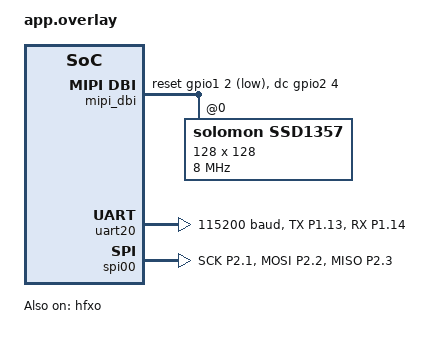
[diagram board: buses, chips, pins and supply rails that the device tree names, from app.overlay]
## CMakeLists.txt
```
cmake_minimum_required(VERSION 3.20.0)
find_package(Zephyr REQUIRED HINTS $ENV{ZEPHYR_BASE})
project(peripheral_nus)

target_sources(app PRIVATE 
    src/main.c

    src/resources/img_88112_261123_youwe.c
    src/resources/img_88112_261123_youwe2.c
    src/resources/img_88112_261123_tel.c
    src/resources/img_88112_261123_carolie.c
    src/resources/img_88112_261123_hr.c
)
target_include_directories(app PRIVATE ${CMAKE_CURRENT_SOURCE_DIR})
```

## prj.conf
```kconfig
CONFIG_CLOCK_CONTROL_NRF_K32SRC_RC=y
CONFIG_CLOCK_CONTROL_NRF_K32SRC_XTAL=n
CONFIG_CLOCK_CONTROL_NRF_K32SRC_RC_CALIBRATION=y
CONFIG_CLOCK_CONTROL_NRF_K32SRC_500PPM=y
CONFIG_MPSL_HFCLK_LATENCY=8000

CONFIG_BT=y
CONFIG_BT_PERIPHERAL=y
CONFIG_BT_ZEPHYR_NUS=y
CONFIG_BT_DEVICE_NAME="F798"

CONFIG_MAIN_STACK_SIZE=8192
CONFIG_HEAP_MEM_POOL_SIZE=4096
CONFIG_SYSTEM_WORKQUEUE_STACK_SIZE=8192

CONFIG_DISPLAY=y
CONFIG_LVGL=y
CONFIG_LV_Z_AUTO_INIT=n
CONFIG_LV_Z_MEM_POOL_SYS_HEAP=y
CONFIG_LV_Z_MEM_POOL_SIZE=16384
CONFIG_LV_Z_VDB_SIZE=10
CONFIG_LV_COLOR_DEPTH_16=y
CONFIG_LV_COLOR_16_SWAP=y
CONFIG_LV_Z_VDB_ALIGN=4
CONFIG_LV_DRAW_BUF_ALIGN=4
CONFIG_LV_FONT_MONTSERRAT_8=y
CONFIG_LV_FONT_MONTSERRAT_14=y
CONFIG_LV_FONT_MONTSERRAT_16=y
CONFIG_LV_FONT_MONTSERRAT_20=y
CONFIG_LV_FONT_DEFAULT_MONTSERRAT_16=y

CONFIG_PRINTK=y
CONFIG_SERIAL=y
CONFIG_CONSOLE=y
CONFIG_UART_CONSOLE=y
CONFIG_UART_INTERRUPT_DRIVEN=y
CONFIG_UART_ASYNC_API=y
```

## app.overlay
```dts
#include <zephyr/dt-bindings/gpio/gpio.h>
#include <zephyr/dt-bindings/pinctrl/nrf-pinctrl.h>

/ {
    chosen {
        zephyr,display = &ssd1357;
        zephyr,console = &uart20;
    };

    /* ---------- SSD1357 MIPI-DBI ---------- */
    mipi_dbi: mipi_dbi {
        compatible = "zephyr,mipi-dbi-spi";
        spi-dev = <&spi00>;
        dc-gpios = <&gpio2 4 GPIO_ACTIVE_HIGH>;
        reset-gpios = <&gpio1 2 GPIO_ACTIVE_LOW>;
        xfr-min-bits = "MIPI_DBI_SPI_XFR_8BIT";
        #address-cells = <1>;
        #size-cells = <0>;
        status = "okay";

        ssd1357: ssd1357@0 {
            compatible = "solomon,ssd1357";
            reg = <0>;
            mipi-max-frequency = <8000000>;
            mipi-mode = "MIPI_DBI_MODE_SPI_4WIRE";
            width = <128>;
            height = <128>;
            display-offset = <0>;
            start-line = <0>;
            multiplex-ratio = <127>;
            phase-length = <0x77>;
            oscillator-freq = <0xF1>;
            precharge-time = <0x08>;
            precharge-voltage = <0x17>;
            vcomh-voltage = <0x05>;
            current-att = <0x0F>;
            remap-value = <0x74>;
            status = "okay";
        };
    };
};

/* ---------- 禁用 LFXO（外部板无 32.768k 晶振） ---------- */
&lfxo {
    status = "disabled";
};

/* ---------- HFXO 32M 配置 ---------- */
&hfxo {
    status = "okay";
    clock-frequency = <32000000>;
    load-capacitors = "internal";
    load-capacitance-femtofarad = <16000>;
};

/* ---------- UART20 (VCOM1) TX→P1.13 ---------- */
&pinctrl {


    uart20_default: uart20_default {
        group1 {
            psels = <NRF_PSEL(UART_TX, 1, 13)>,
                    <NRF_PSEL(UART_RX, 1, 14)>;
        };
    };

    uart20_sleep: uart20_sleep {
        group1 {
            psels = <NRF_PSEL(UART_TX, 1, 13)>,
                    <NRF_PSEL(UART_RX, 1, 14)>;
            low-power-enable;
        };
    };

    /* ---------- SPI00 (原有，不变) ---------- */
    spi00_default: spi00_default {
        group1 {
            psels = <NRF_PSEL(SPIM_SCK, 2, 1)>,
                    <NRF_PSEL(SPIM_MOSI, 2, 2)>,
                    <NRF_PSEL(SPIM_MISO, 2, 3)>;
        };
    };

    spi00_sleep: spi00_sleep {
        group1 {
            psels = <NRF_PSEL(SPIM_SCK, 2, 1)>,
                    <NRF_PSEL(SPIM_MOSI, 2, 2)>,
                    <NRF_PSEL(SPIM_MISO, 2, 3)>;
            low-power-enable;
        };
    };
};

&uart20 {
    status = "okay";
    current-speed = <115200>;
    pinctrl-0 = <&uart20_default>;
    pinctrl-1 = <&uart20_sleep>;
    pinctrl-names = "default", "sleep";
    /delete-property/hw-flow-control;
};

&spi00 {
    status = "okay";
    compatible = "nordic,nrf-spim";
    pinctrl-0 = <&spi00_default>;
    pinctrl-1 = <&spi00_sleep>;
    pinctrl-names = "default", "sleep";
    cs-gpios = <&gpio2 5 GPIO_ACTIVE_LOW>;
};

&uicr {
    nfct-pins-as-gpios;
};

&nfct {
    status = "disabled";
};
```

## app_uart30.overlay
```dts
#include <zephyr/dt-bindings/gpio/gpio.h>
#include <zephyr/dt-bindings/pinctrl/nrf-pinctrl.h>

/ {
    chosen {
        zephyr,display = &ssd1357;
        zephyr,console = &uart20;
    };

    /* ---------- SSD1357 MIPI-DBI ---------- */
    mipi_dbi: mipi_dbi {
        compatible = "zephyr,mipi-dbi-spi";
        spi-dev = <&spi00>;
        dc-gpios = <&gpio2 4 GPIO_ACTIVE_HIGH>;
        reset-gpios = <&gpio1 2 GPIO_ACTIVE_LOW>;
        xfr-min-bits = "MIPI_DBI_SPI_XFR_8BIT";
        #address-cells = <1>;
        #size-cells = <0>;
        status = "okay";

        ssd1357: ssd1357@0 {
            compatible = "solomon,ssd1357";
            reg = <0>;
            mipi-max-frequency = <8000000>;
            mipi-mode = "MIPI_DBI_MODE_SPI_4WIRE";
            width = <128>;
            height = <128>;
            display-offset = <0>;
            start-line = <0>;
            multiplex-ratio = <127>;
            phase-length = <0x77>;
            oscillator-freq = <0xF1>;
            precharge-time = <0x08>;
            precharge-voltage = <0x17>;
            vcomh-voltage = <0x05>;
            current-att = <0x0F>;
            remap-value = <0x74>;
            status = "okay";
        };
    };
};

/* ---------- 禁用 LFXO（外部板无 32.768k 晶振） ---------- */
&lfxo {
    status = "disabled";
};

/* ---------- HFXO 32M 配置 ---------- */
&hfxo {
    status = "okay";
    clock-frequency = <32000000>;
    load-capacitors = "internal";
    load-capacitance-femtofarad = <16000>;
};

/* ---------- UART20 (VCOM1) TX→P1.13 ---------- */
&pinctrl {


    uart30_default: uart30_default {
        group1 {
            psels = <NRF_PSEL(UART_TX, 1, 12)>,
                    <NRF_PSEL(UART_RX, 1, 13)>;
        };
    };

    uart30_sleep: uart30_sleep {
        group1 {
            psels = <NRF_PSEL(UART_TX, 1, 12)>,
                    <NRF_PSEL(UART_RX, 1, 13)>;
            low-power-enable;
        };
    };

    /* ---------- SPI00 (原有，不变) ---------- */
    spi00_default: spi00_default {
        group1 {
            psels = <NRF_PSEL(SPIM_SCK, 2, 1)>,
                    <NRF_PSEL(SPIM_MOSI, 2, 2)>,
                    <NRF_PSEL(SPIM_MISO, 2, 3)>;
        };
    };

    spi00_sleep: spi00_sleep {
        group1 {
            psels = <NRF_PSEL(SPIM_SCK, 2, 1)>,
                    <NRF_PSEL(SPIM_MOSI, 2, 2)>,
                    <NRF_PSEL(SPIM_MISO, 2, 3)>;
            low-power-enable;
        };
    };
};

&uart20 {
    status = "okay";
    current-speed = <115200>;
    pinctrl-0 = <&uart20_default>;
    pinctrl-1 = <&uart20_sleep>;
    pinctrl-names = "default", "sleep";
    /delete-property/hw-flow-control;
};

&uart30 {
    status = "okay";
    current-speed = <115200>;
    pinctrl-0 = <&uart30_default>;
    pinctrl-1 = <&uart30_sleep>;
    pinctrl-names = "default", "sleep";
};

&spi00 {
    status = "okay";
    compatible = "nordic,nrf-spim";
    pinctrl-0 = <&spi00_default>;
    pinctrl-1 = <&spi00_sleep>;
    pinctrl-names = "default", "sleep";
    cs-gpios = <&gpio2 5 GPIO_ACTIVE_LOW>;
};

&uicr {
    nfct-pins-as-gpios;
};

&nfct {
    status = "disabled";
};
```

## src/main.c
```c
#include <zephyr/kernel.h>
#include <zephyr/device.h>
#include <zephyr/drivers/gpio.h>
#include <zephyr/drivers/spi.h>
#include <lvgl.h>


#include <zephyr/bluetooth/services/nus.h>
#include <zephyr/kernel.h>
#include <zephyr/bluetooth/bluetooth.h>
#include <zephyr/bluetooth/gap.h>
#include <zephyr/bluetooth/uuid.h>
#include <zephyr/bluetooth/conn.h>


#include <zephyr/logging/log.h>
LOG_MODULE_REGISTER(ssd135x, CONFIG_DISPLAY_LOG_LEVEL);

#include "src/resources/img_96128_header.h"

#define DEVICE_NAME		CONFIG_BT_DEVICE_NAME
#define DEVICE_NAME_LEN		(sizeof(DEVICE_NAME) - 1)

static struct bt_conn *current_conn;
static struct k_work adv_work;

static const struct bt_data ad[] = {
	BT_DATA_BYTES(BT_DATA_FLAGS, (BT_LE_AD_GENERAL | BT_LE_AD_NO_BREDR)),
	BT_DATA(BT_DATA_NAME_COMPLETE, DEVICE_NAME, DEVICE_NAME_LEN),
};

static void disp_bt_data(char* data, uint16_t len);

static const struct bt_data sd[] = {
	BT_DATA_BYTES(BT_DATA_UUID128_ALL, BT_UUID_NUS_SRV_VAL),
};

static void adv_work_handler(struct k_work *w)
{
    bt_le_adv_start(BT_LE_ADV_CONN_FAST_1, ad, ARRAY_SIZE(ad), sd, ARRAY_SIZE(sd));
}

static void connected(struct bt_conn *conn, uint8_t err)
{
    if (!err) {
        current_conn = bt_conn_ref(conn);
    }
}

static void disconnected(struct bt_conn *conn, uint8_t reason)
{
    if (conn == current_conn) {
        bt_conn_unref(current_conn);
        current_conn = NULL;
    }
    k_work_submit(&adv_work);
}

BT_CONN_CB_DEFINE(cb) = {
    .connected = connected,
    .disconnected = disconnected,
};

static void notif_enabled(bool enabled, void *ctx)
{
	ARG_UNUSED(ctx);

	printk("%s() - %s\n", __func__, (enabled ? "Enabled" : "Disabled"));
    
}

static void received(struct bt_conn *conn, const void *data, uint16_t len, void *ctx)
{
	ARG_UNUSED(conn);
	ARG_UNUSED(ctx);

	printk("%s() - Len: %d, Message: %.*s\n", __func__, len, len, (char *)data);
    disp_bt_data((char *)data, len);
}

struct bt_nus_cb nus_listener = {
	.notif_enabled = notif_enabled,
	.received = received,
};

#if 0
/*  UART 自定义配置 Start*/
#include <zephyr/drivers/uart.h>

/* ---------- UART30 业务串口 ---------- */
static const struct device *uart30_dev;

/* 回发固定报文 */
static const uint8_t rsp[] = {0x98, 0x98};

/* 接收缓冲：一次最多收 64 字节，够用可改大 */
static uint8_t uart30_rx_buf[64];
static volatile bool uart30_tx_busy;

/* 发送完成回调：发送完就把忙标志清掉 */


/* 接收回调：每收到一帧，回发 0x98 0x98 */
static void uart30_async_cb(const struct device *dev, struct uart_event *evt,
                           void *user_data)
{
    ARG_UNUSED(dev);
    ARG_UNUSED(user_data);

    switch (evt->type) {
    case UART_TX_DONE:
        uart30_tx_busy = false;
        break;

    case UART_TX_ABORTED:
        uart30_tx_busy = false;   /* 超时也算发送结束，要释放忙标志 */
        printk("UART TX aborted, sent %d bytes\n", evt->data.tx.len);
        break;

    case UART_RX_RDY:
        if (evt->data.rx.len > 0) {
            printk("UART RX %d bytes: %.*s\n",
                   evt->data.rx.len, evt->data.rx.len,
                   (char *)evt->data.rx.buf);

            /* 没有正在进行的发送，才回发 0x98 0x98 */
            if (!uart30_tx_busy) {
                uart30_tx_busy = true;
                int rc = uart_tx(dev, rsp, sizeof(rsp), SYS_FOREVER_MS);
                if (rc) {            /* -EBUSY 等说明发送没排进去，要释放标志 */
                    printk("uart_tx failed: %d\n", rc);
                    uart30_tx_busy = false;
                }
            }
            /* 把这段缓冲交还给驱动，准备接收下一批数据 */
            uart_rx_enable(dev, uart30_rx_buf, sizeof(uart30_rx_buf), 0);
        }
        break;

    case UART_RX_DISABLED:
        /* 接收被关闭（缓冲满了、超时了等），重新打开 */
        uart_rx_enable(dev, uart30_rx_buf, sizeof(uart30_rx_buf), 0);
        break;

    case UART_RX_BUF_REQUEST:
        /* 想要连续接收，可以再提供一个缓冲；这里用单缓冲，忽略即可 */
        break;

    case UART_RX_BUF_RELEASED:
        break;

    case UART_RX_STOPPED:
        printk("UART RX stopped, reason %d\n", evt->data.rx_stop.reason);
        uart_rx_enable(dev, uart30_rx_buf, sizeof(uart30_rx_buf), 0);
        break;

    default:
        break;
    }
}

/*  UART 自定义配置 End */
#endif

/* 全局 */
//#define IMG_W 96
//#define IMG_H 128
//#define IMG_BYTES (IMG_W * IMG_H * 2)  /* 24576 */

/* 全局 */
#define IMG_W 88
#define IMG_H 112
#define IMG_BYTES (IMG_W * IMG_H * 2)  

static const struct device *spi_dev;
static const struct device *gpio1_dev;
static const struct device *gpio2_dev;

#define MLED_CS    5
#define MLED_MOSI    2
#define MLED_DC    4
#define MLED_CLK    1
#define MLED_RST    2

/* ---------- 底层 SPI ---------- */
static void write_cmd(uint8_t cmd)
{
    gpio_pin_set(gpio2_dev, MLED_DC, 0);
    gpio_pin_set(gpio2_dev, MLED_CS, 0);

    struct spi_buf buf = { .buf = &cmd, .len = 1 };
    struct spi_buf_set tx = { .buffers = &buf, .count = 1 };
    struct spi_config cfg = {                          // ← 去掉 static
        .frequency = 64000000,
        .operation = SPI_OP_MODE_MASTER | SPI_WORD_SET(8) | SPI_LINES_SINGLE,
        .slave = 0,
    };
    int ret = spi_write(spi_dev, &cfg, &tx);
    if (ret != 0) {
        printk("write_cmd 0x%02x failed: %d\n", cmd, ret);
    }

    gpio_pin_set(gpio2_dev, MLED_CS, 1);
}

static void write_data(uint8_t data)
{
    gpio_pin_set(gpio2_dev, MLED_DC, 1);
    gpio_pin_set(gpio2_dev, MLED_CS, 0);

    struct spi_buf buf = { .buf = &data, .len = 1 };
    struct spi_buf_set tx = { .buffers = &buf, .count = 1 };
    struct spi_config cfg = {                          // ← 去掉 static
        .frequency = 64000000,
        .operation = SPI_OP_MODE_MASTER | SPI_WORD_SET(8) | SPI_LINES_SINGLE,
        .slave = 0,
    };
    int ret = spi_write(spi_dev, &cfg, &tx);
    if (ret != 0) {
        printk("write_data 0x%02x failed: %d\n", data, ret);
    }

    gpio_pin_set(gpio2_dev, MLED_CS, 1);
}

static void write_data16(uint8_t d0, uint8_t d1)
{
    gpio_pin_set(gpio2_dev, MLED_DC, 1);
    gpio_pin_set(gpio2_dev, MLED_CS, 0);

    uint8_t d[2] = {d0, d1};
    struct spi_buf buf = { .buf = d, .len = 2 };
    struct spi_buf_set tx = { .buffers = &buf, .count = 1 };
    struct spi_config cfg = {
        .frequency = 64000000,
        .operation = SPI_OP_MODE_MASTER | SPI_WORD_SET(8) | SPI_LINES_SINGLE,
        .slave = 0,
    };
    spi_write(spi_dev, &cfg, &tx);
    gpio_pin_set(gpio2_dev, MLED_CS, 1);
}

static void set_column(uint8_t start, uint8_t end)
{
    write_cmd(0x15);
    write_data16(start, end);
}

static void set_row(uint8_t start, uint8_t end)
{
    write_cmd(0x75);
    write_data16(start, end);
}

/* ---------- 屏幕初始化 ---------- */

static void ssd1357_init(void)
{
    /* 硬件复位 */
    gpio_pin_configure(gpio1_dev, MLED_RST, GPIO_OUTPUT_HIGH);
    gpio_pin_set(gpio1_dev, MLED_RST, 0);
    k_msleep(10);
    gpio_pin_set(gpio1_dev, MLED_RST, 1);
    k_msleep(120);
#if 0 //2026-06-05
    //write_cmd(0xFD); write_data(0x12); // Unlock
    write_cmd(0xAE);                   // Display Off

    write_cmd(0x15); write_data(0x10);write_data(0x6F);
    write_cmd(0x75); write_data(0x00);write_data(0x7F);
    /* Remap: 镜像修正 + 扫描方向 */
    write_cmd(0xA0); write_data(0x74);write_data(0x00);

    write_cmd(0xA1); write_data(0x00); // Start line
    write_cmd(0xA2); write_data(0x00); // Offset

    write_cmd(0xA6); 

    write_cmd(0xB1); write_data(0xF4); //Phase 1 and 2 setting. It may need to fine tune based on panel performanc
    write_cmd(0xB3); write_data(0x20); // Clock

    write_cmd(0xB9); //Default linear LUT

    write_cmd(0xBB); write_data(0x1E); //VP voltage level setting. It may need to fine tune based on panel performance.
    write_cmd(0xBE); write_data(0x07);//VCOMH voltage level setting

    write_cmd(0xC1); 
    write_data(0x7F);
    write_data(0x7F);
    write_data(0x7F);

    write_cmd(0xC7); write_data(0x0F);
    write_cmd(0xCA); write_data(0x7F); // MUX = 128

    /* 列窗口偏移 0x20，让 64 列数据正好映射到物理屏幕的中间 */
    //set_column(0x20, 0x5F);
    //set_row(0x00, 0x7F);

    write_cmd(0xAF); // Display On
    #endif
#if 1 //2026-10-16
    write_cmd(0xAE);                   // Display Off

    write_cmd(0x15); write_data(0x14);write_data(0x6B);
    write_cmd(0x75); write_data(0x00);write_data(0x6F);

    /* Remap: 镜像修正 + 扫描方向 */
    //write_cmd(0xA0); write_data(0x60);write_data(0x00);
    write_cmd(0xA0); write_data(0b01110100);write_data(0b00000000);

    write_cmd(0xA1); write_data(0); // Start line
    //write_cmd(0xA2); write_data(0x00); // Offset
    write_cmd(0xA2); write_data(112); // Offset

    write_cmd(0xA6); 

    write_cmd(0xB1); write_data(0x84); //Phase 1 and 2 setting. It may need to fine tune based on panel performanc
    write_cmd(0xB3); write_data(0x00); // Clock

    write_cmd(0xB9); //Default linear LUT

    write_cmd(0xBB); write_data(0x1E); //VP voltage level setting. It may need to fine tune based on panel performance.
    write_cmd(0xBE); write_data(0x05);//VCOMH voltage level setting

    write_cmd(0xC1); 
    write_data(0x7F);
    write_data(0x7F);
    write_data(0x7F);

    write_cmd(0xC7); write_data(0x0F);
    write_cmd(0xCA); write_data(0x6F); // MUX = 128

    //write_cmd(0xA5); // 全亮
    //write_cmd(0xA4); // 全黑
    write_cmd(0xAF); // Display On
#endif
}

/* ---------- 填充颜色 ---------- */

#define COLOR_RED    0xF800
#define COLOR_GREEN  0x07E0
#define COLOR_BLUE   0x001F
#define COLOR_WHITE  0xFFFF

static void fill_color(uint16_t color)
{
    set_column(0x14, 0x6B);
    set_row(0x00, 0x6F);
    write_cmd(0x5C);

    gpio_pin_set(gpio2_dev, MLED_DC, 1);
    gpio_pin_set(gpio2_dev, MLED_CS, 0);

    uint8_t data[2] = {
        (color >> 8) & 0xFF,
        color & 0xFF
    };

    struct spi_buf buf = { .buf = data, .len = 2 };
    struct spi_buf_set tx = { .buffers = &buf, .count = 1 };

    static struct spi_config cfg = {
        .frequency = 64000000,
        .operation = SPI_OP_MODE_MASTER | SPI_WORD_SET(8) | SPI_LINES_SINGLE,
        .slave = 0,
    };

    for (int i = 0; i < IMG_W * IMG_H; i++) {
        spi_write(spi_dev, &cfg, &tx);
    }

    gpio_pin_set(gpio2_dev, MLED_CS, 1);
}

static uint8_t color_index = 0;

static void color_timer_expiry(struct k_timer *timer)
{
    const uint16_t colors[4] = {
        COLOR_RED,
        COLOR_GREEN,
        COLOR_BLUE,
        COLOR_WHITE
    };

    fill_color(colors[color_index]);
    color_index = (color_index + 1) % 4;
}

static K_TIMER_DEFINE(color_timer, color_timer_expiry, NULL);

/* ---------- 填充颜色 ---------- */


/* ---------- 清屏 ---------- */
static void clear_screen(void)
{
    /* 窗口 = IMG_W × IMG_H = 88 × 128，居中 */
    set_column(0x14, 0x6B);     // 0x14 ~ 0x6B (88列)
    set_row(0x00, 0x6F);        // 0x00 ~ 0x6F (112行)
    write_cmd(0x5C);

    write_cmd(0x25);  // Clear Window
    write_data(0x14); // start column
    write_data(0x00); // start row  
    write_data(0x6B); // end column
    write_data(0x6F); // end row

    gpio_pin_set(gpio2_dev, MLED_DC, 1);
    gpio_pin_set(gpio2_dev, MLED_CS, 0);

    uint8_t black[2] = {0x00, 0x00};
    struct spi_buf buf = { .buf = black, .len = 2 };
    struct spi_buf_set tx = { .buffers = &buf, .count = 1 };
    struct spi_config cfg = {
        .frequency = 64000000,
        .operation = SPI_OP_MODE_MASTER | SPI_WORD_SET(8) | SPI_LINES_SINGLE,
        .slave = 0,
    };

    for (int i = 0; i < IMG_W * IMG_H; i++) {
        spi_write(spi_dev, &cfg, &tx);
    }

    gpio_pin_set(gpio2_dev, MLED_CS, 1);
}

/* ---------- LVGL flush ---------- */
static void lvgl_flush_cb(lv_display_t *disp, const lv_area_t *area, uint8_t *px_map)
{
    set_column(area->x1 + 0x14, area->x2 + 0x14);
    set_row(area->y1 , area->y2 );
    write_cmd(0x5C);

    printk("flush: (%d,%d)-(%d,%d)\n", area->x1, area->y1, area->x2, area->y2);

    gpio_pin_set(gpio2_dev, MLED_DC, 1);
    gpio_pin_set(gpio2_dev, MLED_CS, 0);

    int w = area->x2 - area->x1 + 1;
    int h = area->y2 - area->y1 + 1;
    struct spi_buf buf = { .buf = px_map, .len = w * h * 2 };
    struct spi_buf_set tx = { .buffers = &buf, .count = 1 };
    static struct spi_config cfg = {
        .frequency = 64000000,
        .operation = SPI_OP_MODE_MASTER | SPI_WORD_SET(8) | SPI_LINES_SINGLE,
        .slave = 0,
    };
    spi_write(spi_dev, &cfg, &tx);

    gpio_pin_set(gpio2_dev, MLED_CS, 1);

    lv_display_flush_ready(disp);
    
    printk("Screen cleared, starting LVGL...\n");
}


#include <zephyr/kernel.h>

static lv_obj_t *img, *label;
static uint8_t img_index = 0;
static lv_display_t *disp;
static bool img_pending = false;

static const lv_image_dsc_t *imgs[5] = {
    &img_88112_261123_youwe,
    &img_88112_261123_youwe2,
    &img_88112_261123_tel,
    &img_88112_261123_carolie,
    &img_88112_261123_hr
};

static void img_switch_work(struct k_work *work)
{
    img_index = ((img_index + 1) % ARRAY_SIZE(imgs));
    lv_image_set_src(img, imgs[img_index]);    
    //img_pending = true;
    lv_refr_now(disp); 
    printk("img_index:%d\n", img_index);
}

static void disp_bt_data(char* data, uint16_t len)
{
    label = lv_label_create(lv_screen_active());
    lv_label_set_text(label,(char *)data);
    lv_obj_set_style_text_color(label, lv_color_hex(0x00FF00), 0); 
    lv_obj_set_style_text_font(label, &lv_font_montserrat_8, 0);
    lv_obj_align(label, LV_ALIGN_TOP_MID, 0, 0);
}

static K_WORK_DEFINE(img_switch_work_item, img_switch_work);

static void img_timer_expiry(struct k_timer *timer)
{
    k_work_submit(&img_switch_work_item);
}

static K_TIMER_DEFINE(img_timer, img_timer_expiry, NULL);

static void bt_ready(int err)
{
    if (err) {
        printk("BT init failed: %d\n", err);
        return;
    }
    printk("BT ready\n");
    int r = bt_le_adv_start(BT_LE_ADV_CONN_FAST_1, ad, ARRAY_SIZE(ad), sd, ARRAY_SIZE(sd));
    printk("adv_start ret=%d\n", r);
}

int main(void)
{
	int err;

	printk("Sample - Bluetooth Peripheral NUS\n");

	err = bt_nus_cb_register(&nus_listener, NULL);
	if (err) {
		printk("Failed to register NUS callback: %d\n", err);
		return err;
	}

	err = bt_enable(bt_ready);
	if (err) {
		printk("Failed to enable bluetooth: %d\n", err);
		return err;
	}
/*
	err = bt_le_adv_start(BT_LE_ADV_CONN_FAST_1, ad, ARRAY_SIZE(ad), sd, ARRAY_SIZE(sd));
	if (err) {
		printk("Failed to start advertising: %d\n", err);
		return err;
	}
*/
    k_work_init(&adv_work, adv_work_handler);

    spi_dev = DEVICE_DT_GET(DT_NODELABEL(spi00));
    gpio2_dev = DEVICE_DT_GET(DT_NODELABEL(gpio2));
    gpio1_dev = DEVICE_DT_GET(DT_NODELABEL(gpio1));

    if (!device_is_ready(spi_dev) || !device_is_ready(gpio2_dev) || !device_is_ready(gpio1_dev)) {
        printk("FATAL: device not ready!\n");
        return 0;
    }

    gpio_pin_configure(gpio2_dev, MLED_CS, GPIO_OUTPUT_HIGH);
    gpio_pin_configure(gpio2_dev, MLED_DC, GPIO_OUTPUT_HIGH);
    gpio_pin_configure(gpio1_dev, MLED_RST, GPIO_OUTPUT_HIGH);

    gpio_pin_configure(gpio1_dev, 7, GPIO_INPUT | GPIO_PULL_UP);
    gpio_pin_set(gpio1_dev, 7, 1);

    gpio_pin_configure(gpio1_dev, 9, GPIO_OUTPUT_HIGH);
    gpio_pin_set(gpio1_dev, 9, 1);

    gpio_pin_configure(gpio1_dev, 8, GPIO_OUTPUT_HIGH);
    gpio_pin_set(gpio1_dev, 8, 1);

    printk("Starting SSD1357 init...\n");
    ssd1357_init();
    printk("SSD1357 init done, clearing screen...\n");
    clear_screen();
    printk("Screen cleared, starting LVGL...\n");
#if 1
    /* ---------- LVGL 初始化（只一次） ---------- */
    lv_init();

    disp = lv_display_create(IMG_W, IMG_H);
    //lv_display_set_rotation(disp, LV_DISPLAY_ROTATION_0);
    static uint8_t draw_buf[IMG_W * IMG_H * 2] __aligned(4);    
    memset(draw_buf, 0x00, sizeof(draw_buf));

    lv_display_set_buffers(disp, draw_buf, NULL, sizeof(draw_buf),
                           LV_DISPLAY_RENDER_MODE_PARTIAL);
    lv_display_set_flush_cb(disp, lvgl_flush_cb);

#if 0
    lv_obj_set_style_bg_color(lv_screen_active(), lv_color_black(), 0);
    label = lv_label_create(lv_screen_active());
    lv_label_set_text(label, "LDSK");
    lv_obj_set_style_text_color(label, lv_color_hex(0x00FF00), 0); 
    lv_obj_set_style_text_font(label, &lv_font_montserrat_8, 0);
    lv_obj_align(label, LV_ALIGN_TOP_MID, 0, 0);

    k_msleep(3000);

#endif
    img = lv_image_create(lv_screen_active());
    lv_image_set_src(img, imgs[0]);
    lv_obj_align(img, LV_ALIGN_TOP_MID, 0, 0);
    
/* ========== 首页三色引导 ========== */
    printk("Boot sequence: Red -> Green -> Blue\n");
    
    fill_color(COLOR_RED);
    k_msleep(1000);
    fill_color(COLOR_GREEN);
    k_msleep(1000);
    fill_color(COLOR_BLUE);
    k_msleep(1000);
    clear_screen();   // 清掉蓝色，避免和 LVGL 画面叠加
    /* ========== 引导结束 ========== */

    uint32_t counter = 0, index_ds = 0;
    k_timer_start(&img_timer, K_SECONDS(3), K_SECONDS(3));  // 每 3 秒触发
    //k_timer_start(&img_timer, K_MSEC(10), K_MSEC(10));  // 每 300 毫秒触发
#endif

    //fill_color(COLOR_RED);   // 上电先显示红色
    //k_timer_start(&color_timer, K_SECONDS(1), K_SECONDS(1));

    while (1) {
        lv_timer_handler();
        k_msleep(10);

    }
}
```
